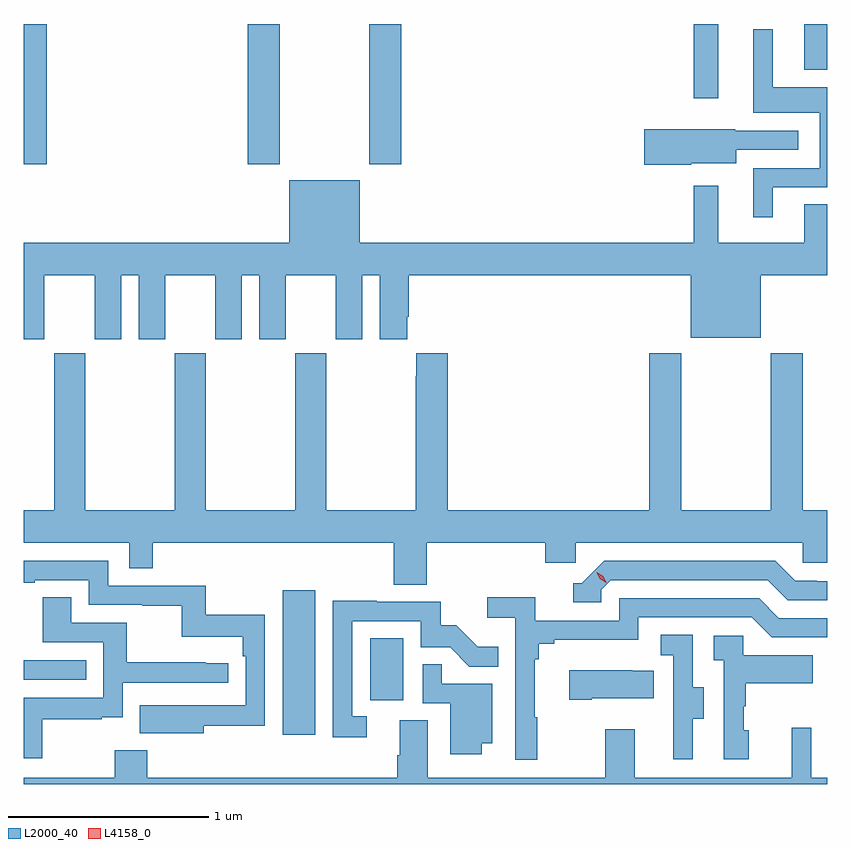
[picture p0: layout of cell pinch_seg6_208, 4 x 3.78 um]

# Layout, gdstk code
import gdstk
lib = gdstk.Library(unit=1e-6, precision=1e-09)
def R(c, l, rs):  # rectangles x0, y0, x1, y1
    for r in rs: c.add(gdstk.rectangle(r[:2], r[2:], *l))
def P(c, l, *ps):  # polygons
    for p in ps: c.add(gdstk.Polygon(p, *l))
L2000_40 = (2000, 40)
L4158_0 = (4158, 0)

pinch_seg6_208 = lib.new_cell('pinch_seg6_208')
R(pinch_seg6_208, L2000_40, [(1030.685,915.744,1030.846,916.465), (1031.12,915.918,1031.284,916.225), (1029.396,916.02,1029.707,916.116), (1029.396,918.585,1029.509,919.284), (1030.511,918.585,1030.671,919.284), (1031.116,918.585,1031.276,919.284), (1032.732,918.915,1032.853,919.284), (1033.283,919.055,1033.396,919.284)])
P(pinch_seg6_208, L2000_40, [(1033.126,918.471),(1033.396,918.471),(1033.396,918.97),(1033.126,918.97),(1033.126,919.258),(1033.028,919.258),(1033.028,918.842),(1033.358,918.842),(1033.358,918.567),(1033.028,918.567),(1033.028,918.321),(1033.126,918.321)],
  [(1032.72,918.59),(1032.943,918.59),(1032.943,918.657),(1033.252,918.657),(1033.252,918.753),(1032.939,918.753),(1032.939,918.761),(1032.486,918.761),(1032.486,918.583),(1032.72,918.583)],
  [(1029.499,918.032),(1029.749,918.032),(1029.749,917.715),(1029.88,917.715),(1029.88,918.032),(1029.968,918.032),(1029.968,917.715),(1030.099,917.715),(1030.099,918.032),(1030.349,918.032),(1030.349,917.715),(1030.48,917.715),(1030.48,918.032),(1030.568,918.032),(1030.568,917.715),(1030.699,917.715),(1030.699,918.032),(1030.949,918.032),(1030.949,917.715),(1031.08,917.715),(1031.08,918.032),(1031.168,918.032),(1031.168,917.715),(1031.305,917.715),(1031.305,917.827),(1031.312,917.827),(1031.312,918.032),(1032.716,918.032),(1032.716,917.723),(1033.066,917.723),(1033.066,918.032),(1033.396,918.032),(1033.396,918.386),(1033.283,918.386),(1033.283,918.196),(1032.853,918.196),(1032.853,918.478),(1032.732,918.478),(1032.732,918.196),(1031.068,918.196),(1031.068,918.505),(1030.718,918.505),(1030.718,918.196),(1029.396,918.196),(1029.396,917.715),(1029.499,917.715)],
  [(1033.275,916.602),(1033.396,916.602),(1033.396,916.864),(1033.274,916.864),(1033.274,917.644),(1033.114,917.644),(1033.114,916.864),(1032.669,916.864),(1032.669,917.644),(1032.509,917.644),(1032.509,916.864),(1031.507,916.864),(1031.507,917.644),(1031.351,917.644),(1031.351,917.531),(1031.347,917.531),(1031.347,916.864),(1030.902,916.864),(1030.902,917.644),(1030.747,917.644),(1030.747,916.864),(1030.302,916.864),(1030.302,917.644),(1030.147,917.644),(1030.147,916.864),(1029.702,916.864),(1029.702,917.644),(1029.547,917.644),(1029.547,916.864),(1029.396,916.864),(1029.396,916.7),(1029.921,916.7),(1029.921,916.573),(1030.037,916.573),(1030.037,916.7),(1031.237,916.7),(1031.237,916.492),(1031.402,916.492),(1031.402,916.7),(1031.993,916.7),(1031.993,916.602),(1032.144,916.602),(1032.144,916.7),(1033.275,916.7)],
  [(1030.291,915.79),(1030.596,915.79),(1030.596,916.342),(1030.303,916.342),(1030.303,916.488),(1029.816,916.488),(1029.816,916.611),(1029.396,916.611),(1029.396,916.503),(1029.451,916.503),(1029.451,916.515),(1029.72,916.515),(1029.72,916.392),(1029.985,916.392),(1029.985,916.387),(1030.182,916.387),(1030.182,916.232),(1030.487,916.232),(1030.487,916.136),(1030.5,916.136),(1030.5,915.891),(1030.187,915.891),(1030.187,915.892),(1029.973,915.892),(1029.973,915.752),(1030.291,915.752)],
  [(1032.27,916.467),(1032.318,916.515),(1033.101,916.515),(1033.2,916.416),(1033.396,916.416),(1033.396,916.509),(1033.344,916.509),(1033.344,916.512),(1033.237,916.512),(1033.138,916.611),(1032.285,916.611),(1032.174,916.5),(1032.131,916.5),(1032.131,916.404),(1032.27,916.404)],
  [(1031.953,915.833),(1031.941,915.833),(1031.941,916.121),(1031.96,916.121),(1031.96,916.198),(1032.037,916.198),(1032.037,916.217),(1032.456,916.217),(1032.456,916.329),(1033.02,916.329),(1033.119,916.23),(1033.396,916.23),(1033.396,916.326),(1033.156,916.326),(1033.057,916.425),(1032.36,916.425),(1032.36,916.314),(1031.942,916.314),(1031.942,916.43),(1031.703,916.43),(1031.703,916.328),(1031.844,916.328),(1031.844,915.621),(1031.953,915.621)],
  [(1029.487,915.822),(1029.785,915.822),(1029.785,915.833),(1029.888,915.833),(1029.888,916.005),(1030.414,916.005),(1030.414,916.101),(1030.301,916.101),(1030.301,916.106),(1029.908,916.106),(1029.908,916.302),(1029.631,916.302),(1029.631,916.43),(1029.491,916.43),(1029.491,916.206),(1029.792,916.206),(1029.792,915.93),(1029.396,915.93),(1029.396,915.627),(1029.487,915.627)],
  [(1031.103,915.837),(1031.031,915.837),(1031.031,916.311),(1031.373,916.311),(1031.373,916.182),(1031.518,916.182),(1031.615,916.085),(1031.759,916.085),(1031.759,916.183),(1031.655,916.183),(1031.548,916.29),(1031.472,916.29),(1031.472,916.407),(1031.153,916.407),(1031.153,916.412),(1030.935,916.412),(1030.935,915.732),(1031.103,915.732)],
  [(1032.727,915.826),(1032.781,915.826),(1032.781,915.981),(1032.726,915.981),(1032.726,916.244),(1032.567,916.244),(1032.567,916.141),(1032.63,916.141),(1032.63,915.837),(1032.629,915.837),(1032.629,915.624),(1032.727,915.624)],
  [(1033.006,915.768),(1032.981,915.768),(1032.981,915.887),(1032.991,915.887),(1032.991,916.001),(1033.325,916.001),(1033.325,916.141),(1032.978,916.141),(1032.978,916.239),(1032.831,916.239),(1032.831,916.115),(1032.882,916.115),(1032.882,915.624),(1033.006,915.624)],
  [(1031.677,915.704),(1031.728,915.704),(1031.728,915.999),(1031.477,915.999),(1031.477,916.097),(1031.382,916.097),(1031.382,915.903),(1031.519,915.903),(1031.519,915.648),(1031.677,915.648)],
  [(1032.223,915.926),(1032.533,915.926),(1032.533,916.063),(1032.425,916.063),(1032.425,916.066),(1032.111,916.066),(1032.111,915.919),(1032.223,915.919)],
  [(1033.396,915.532),(1033.317,915.532),(1033.317,915.781),(1033.22,915.781),(1033.22,915.532),(1032.439,915.532),(1032.439,915.772),(1032.292,915.772),(1032.292,915.532),(1031.407,915.532),(1031.407,915.818),(1031.267,915.818),(1031.267,915.644),(1031.255,915.644),(1031.255,915.532),(1030.01,915.532),(1030.01,915.667),(1029.85,915.667),(1029.85,915.532),(1029.396,915.532),(1029.396,915.5),(1033.396,915.5)])
P(pinch_seg6_208, L4158_0, [(1032.295,916.502),(1032.264,916.522),(1032.249,916.555),(1032.249,916.555),(1032.249,916.555),(1032.28,916.535),(1032.295,916.502),(1032.295,916.502)])

lib.write_gds('pinch_seg6_208.gds')
